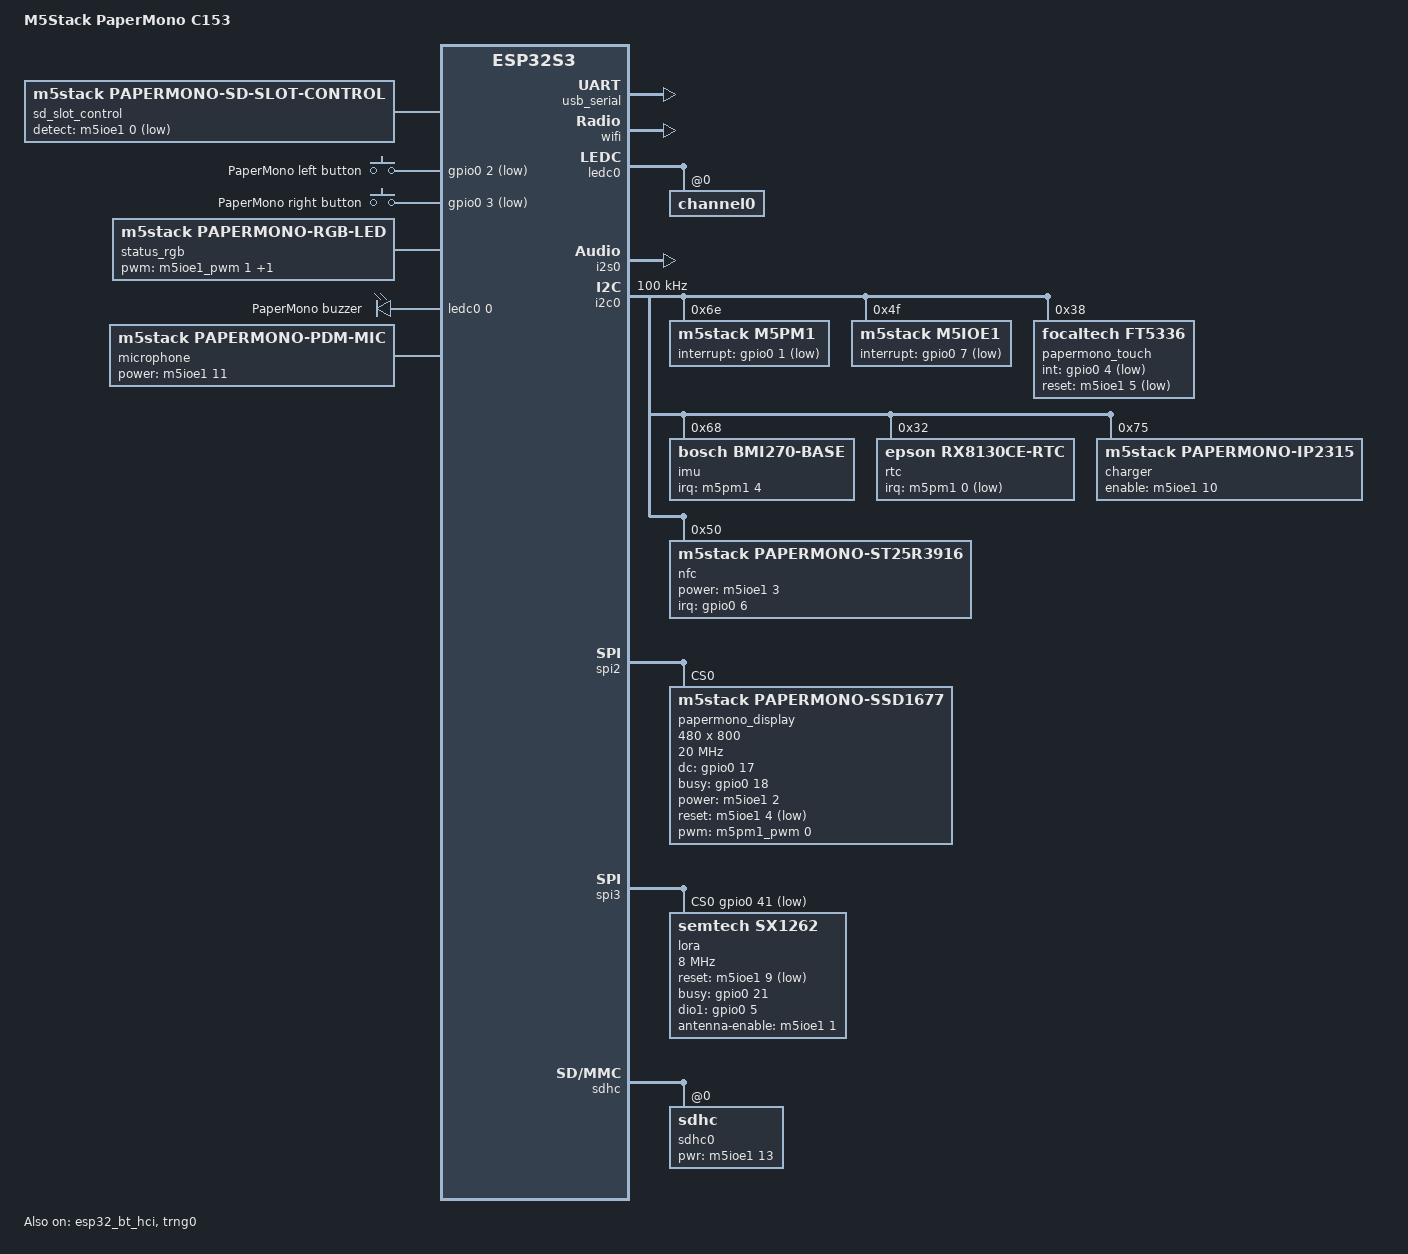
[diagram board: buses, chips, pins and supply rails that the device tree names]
/* SPDX-License-Identifier: MIT */

/dts-v1/;

#include <espressif/esp32s3/esp32s3_wroom_n16r8.dtsi>
#include <espressif/partitions_0x0_amp_16M.dtsi>
#include <zephyr/dt-bindings/input/input-event-codes.h>
#include <zephyr/dt-bindings/lora/sx126x.h>
#include <zephyr/dt-bindings/pwm/pwm.h>
#include "m5stack_papermono-pinctrl.dtsi"

/ {
	model = "M5Stack PaperMono C153";
	compatible = "m5stack,papermono";

	aliases {
		i2c-0 = &i2c0;
		display0 = &papermono_display;
		sw0 = &button_left;
		sw1 = &button_right;
		led0 = &status_rgb;
		lora0 = &lora;
		pwm-buzzer = &buzzer;
		microphone0 = &microphone;
	};

	chosen {
		zephyr,sram = &sram1;
		zephyr,console = &usb_serial;
		zephyr,shell-uart = &usb_serial;
		zephyr,flash = &flash0;
		zephyr,code-partition = &slot0_partition;
		zephyr,display = &papermono_display;
		zephyr,touch = &papermono_touch;
		zephyr,sdhc = &sdhc0;
	};

	sd_slot_control: sd-slot-control {
		compatible = "m5stack,papermono-sd-slot-control";
		detect-gpios = <&m5ioe1 0 (GPIO_PULL_UP | GPIO_ACTIVE_LOW)>;
	};

	buttons {
		compatible = "gpio-keys";
		debounce-interval-ms = <30>;

		button_left: button-left {
			label = "PaperMono left button";
			gpios = <&gpio0 2 (GPIO_PULL_UP | GPIO_ACTIVE_LOW)>;
			zephyr,code = <INPUT_KEY_0>;
		};

		button_right: button-right {
			label = "PaperMono right button";
			gpios = <&gpio0 3 (GPIO_PULL_UP | GPIO_ACTIVE_LOW)>;
			zephyr,code = <INPUT_KEY_1>;
		};
	};

	status_rgb: status-rgb {
		compatible = "m5stack,papermono-rgb-led";
		pmic = <&m5pm1>;
		pwms = <&m5ioe1_pwm 1 200000>,
		       <&m5ioe1_pwm 0 200000>;
		pwm-names = "green", "blue";
		status = "okay";
	};

	buzzer_pwm: buzzer-pwm {
		compatible = "pwm-leds";

		buzzer: buzzer {
			label = "PaperMono buzzer";
			pwms = <&ledc0 0 PWM_HZ(2000) PWM_POLARITY_NORMAL>;
		};
	};

	microphone: microphone {
		compatible = "m5stack,papermono-pdm-mic";
		i2s = <&i2s0>;
		power-gpios = <&m5ioe1 11 GPIO_ACTIVE_HIGH>;
		sample-rate-hz = <16000>;
		power-on-delay-ms = <20>;
		status = "okay";
	};

	wifi_ap: wifi-ap {
		compatible = "espressif,esp32-wifi";
		status = "okay";
	};
};

&usb_serial {
	status = "okay";
};

&wifi {
	status = "okay";
};

&esp32_bt_hci {
	status = "okay";
};

&trng0 {
	status = "okay";
};

&gpio0 {
	status = "okay";
};

&gpio1 {
	status = "okay";
};

&ledc0 {
	status = "okay";
	pinctrl-0 = <&ledc0_default>;
	pinctrl-names = "default";
	#address-cells = <1>;
	#size-cells = <0>;

	channel0@0 {
		reg = <0>;
		timer = <0>;
	};
};

&i2s0 {
	status = "okay";
	dmas = <&dma 2>;
	dma-names = "rx";
	pinctrl-0 = <&i2s0_pdm_default>;
	pinctrl-names = "default";
};

&i2c0 {
	status = "okay";
	clock-frequency = <I2C_BITRATE_STANDARD>;
	pinctrl-0 = <&i2c0_default>;
	pinctrl-names = "default";

	m5pm1: pmic@6e {
		compatible = "m5stack,m5pm1";
		reg = <0x6e>;
		gpio-controller;
		#gpio-cells = <2>;
		ngpios = <5>;
		gpio-reserved-ranges = <1 1>;
		interrupt-gpios = <&gpio0 1 GPIO_ACTIVE_LOW>;
		irq-output-pin = <1>;
		status = "okay";

		lora-power-hog {
			gpio-hog;
			gpios = <2 GPIO_ACTIVE_HIGH>;
			output-high;
			line-name = "lora-power";
		};

		m5pm1_pwm: pwm {
			compatible = "m5stack,m5pm1-pwm";
			#pwm-cells = <2>;
			channels = <2>;
			status = "okay";
		};
	};

	m5ioe1: gpio-expander@4f {
		compatible = "m5stack,m5ioe1";
		reg = <0x4f>;
		gpio-controller;
		#gpio-cells = <2>;
		ngpios = <14>;
		interrupt-gpios = <&gpio0 7 GPIO_ACTIVE_LOW>;
		status = "okay";

		touch-power-hog {
			gpio-hog;
			gpios = <12 GPIO_ACTIVE_HIGH>;
			output-high;
			line-name = "touch-power";
		};

		m5ioe1_pwm: pwm {
			compatible = "m5stack,m5ioe1-pwm";
			#pwm-cells = <2>;
			channels = <4>;
			status = "okay";
		};
	};

	papermono_touch: touchscreen@38 {
		compatible = "focaltech,ft5336";
		reg = <0x38>;
		/* GPIO4 becomes an RTC EXT0 input in deep sleep. ESP32-S3 keeps
		 * digital-GPIO and RTC-IO pulls separately, so GPIO_INT_WAKEUP is
		 * required for the ESP32 GPIO driver to program the RTC pull-up too.
		 */
		int-gpios = <&gpio0 4
			(GPIO_ACTIVE_LOW | GPIO_PULL_UP | GPIO_INT_WAKEUP)>;
		reset-gpios = <&m5ioe1 5 GPIO_ACTIVE_LOW>;
		/* M5Stack UserDemo rotation 0 uses FT6336 raw x/y directly in the
		 * portrait 480x800 UI. CrossMux reaches the same mapping after its
		 * landscape-panel transform; do not apply another axis inversion here.
		 * The common screen dimensions are intentionally omitted because Zephyr
		 * uses them only when the corresponding inverted-* property is present.
		 */
		status = "okay";
	};

	imu: imu@68 {
		compatible = "bosch,bmi270-base", "bosch,bmi270";
		reg = <0x68>;
		irq-gpios = <&m5pm1 4 GPIO_ACTIVE_HIGH>;
		status = "okay";
	};

	rtc: rtc@32 {
		compatible = "epson,rx8130ce-rtc";
		reg = <0x32>;
		irq-gpios = <&m5pm1 0 GPIO_ACTIVE_LOW>;
		battery-switchover = <3>;
		status = "okay";
	};

	charger: charger@75 {
		compatible = "m5stack,papermono-ip2315";
		reg = <0x75>;
		enable-gpios = <&m5ioe1 10 GPIO_ACTIVE_HIGH>;
		pmic = <&m5pm1>;
		status = "okay";
	};

	nfc: nfc@50 {
		compatible = "m5stack,papermono-st25r3916";
		reg = <0x50>;
		power-gpios = <&m5ioe1 3 GPIO_ACTIVE_HIGH>;
		irq-gpios = <&gpio0 6 GPIO_ACTIVE_HIGH>;
		/* UserDemo waits 120 ms before the NFC library's 50 ms settle. */
		power-on-delay-ms = <170>;
		status = "okay";
	};
};

&spi2 {
	status = "okay";
	#address-cells = <1>;
	#size-cells = <0>;
	pinctrl-0 = <&spim2_default>;
	pinctrl-names = "default";

	papermono_display: ssd1677@0 {
		compatible = "m5stack,papermono-ssd1677";
		reg = <0>;
		spi-max-frequency = <20000000>;
		cs-gpios = <&gpio0 16 GPIO_ACTIVE_LOW>;
		dc-gpios = <&gpio0 17 GPIO_ACTIVE_HIGH>;
		busy-gpios = <&gpio0 18 GPIO_ACTIVE_HIGH>;
		power-gpios = <&m5ioe1 2 GPIO_ACTIVE_HIGH>;
		reset-gpios = <&m5ioe1 4 GPIO_ACTIVE_LOW>;
		pwms = <&m5pm1_pwm 0 200000>;
		pwm-names = "frontlight";
		width = <480>;
		height = <800>;
		status = "okay";
	};
};

&spi3 {
	status = "okay";
	#address-cells = <1>;
	#size-cells = <0>;
	cs-gpios = <&gpio0 41 GPIO_ACTIVE_LOW>;
	pinctrl-0 = <&spim3_default>;
	pinctrl-names = "default";

	lora: sx1262@0 {
		compatible = "semtech,sx1262";
		reg = <0>;
		spi-max-frequency = <8000000>;
		reset-gpios = <&m5ioe1 9 (GPIO_OPEN_DRAIN | GPIO_ACTIVE_LOW)>;
		busy-gpios = <&gpio0 21 GPIO_ACTIVE_HIGH>;
		dio1-gpios = <&gpio0 5 GPIO_ACTIVE_HIGH>;
		antenna-enable-gpios = <&m5ioe1 1 GPIO_ACTIVE_HIGH>;
		dio2-tx-enable;
		dio3-tcxo-voltage = <SX126X_DIO3_TCXO_3V0>;
		tcxo-power-startup-delay-ms = <5>;
		status = "okay";
	};
};

&sdhc {
	sdhc0: sdhc@0 {
		status = "okay";
		pinctrl-0 = <&sdhc0_default>;
		pinctrl-names = "default";
		max-bus-freq = <20000000>;
		bus-width = <4>;
		pwr-gpios = <&m5ioe1 13 GPIO_ACTIVE_HIGH>;
		/* Match the factory demo's TF rail stabilization interval. */
		power-delay-ms = <300>;

		mmc {
			compatible = "zephyr,sdmmc-disk";
			disk-name = "SD";
			status = "okay";
		};
	};
};

&dma {
	status = "okay";
};
